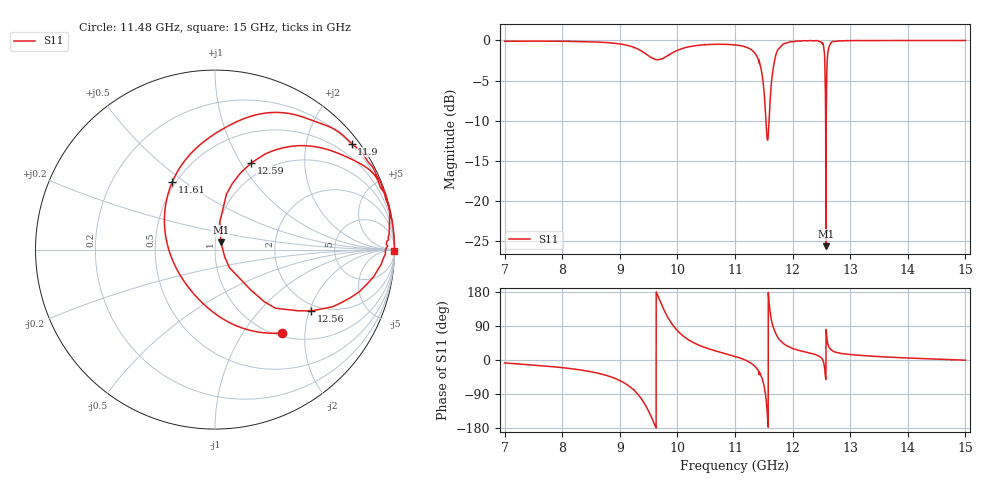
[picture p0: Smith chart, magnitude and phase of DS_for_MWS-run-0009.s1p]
! TOUCHSTONE file generated by CST DESIGN STUDIO
! Date and time: Mon Feb 10 16:57:18 2025
! Project name: C:\Work\MatlabApps\UnitCellType2OptimizationMatlab\CST\unitcell.cst
! Tree item: Tasks\Sweep1\SPara1\S-Parameters
! Header version: 2024
! Port assignment regex: !\s*Touchstone port\s*([0-9]+)\s*=\s*(CST MWS port|CST DES external port|CST DES block port)\s*(.+)\s* \(\"(.*)\"\)(\s*mode\s*([0-9]+))?.*
! Touchstone port assignment:
! Touchstone port 1 = CST DES external port 1 ("")
# GHz S MA R 50
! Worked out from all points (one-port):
!   4001 points, 7 GHz to 15 GHz, reference 50 ohm
!   lowest |S11| = -25.6 dB at 12.58 GHz (marker M1), VSWR 1.11, Z = 53.2 + j4.38 ohm
!   |S11| at or under -10 dB: 11.53716 GHz to 11.59107 GHz (53.91 MHz wide, 0.466 % of centre); 12.57359 GHz to 12.58401 GHz (10.43 MHz wide, 0.0829 % of centre)
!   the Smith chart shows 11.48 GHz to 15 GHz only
!   S11 on the Smith chart (normalised r, x): 11.48 GHz: 1.06, -1.53; 11.61 GHz: 0.48, +0.45; 11.9 GHz: 0.18, +2.91; 12.56 GHz: 1.80, -2.06; 12.59 GHz: 0.83, +1.11; 15 GHz: open
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7  0.988 -7.8
8  0.9886 -20.1
8.626  0.9769 -35.0
9  0.9522 -54.2
9.372  0.8611 -102.0
9.488  0.8078 -131.3
9.612  0.7627 -173.0
9.804  0.7939 121.0
10  0.8675 77.5
10.372  0.9335 39.2
11  0.9388 9.6
11.324  0.8508 -13.7
11.476  0.5959 -51.1
11.556  0.2493 -131.6
11.614  0.4466 122.1
11.708  0.8103 69.8
11.898  0.9638 37.8
12  0.9818 30.5
12.494  0.9773 6.5
12.538  0.9209 -6.2
12.562  0.6365 -32.4
12.58  0.05242 51.6
12.59  0.5248 67.2
12.624  0.8867 36.2
12.692  0.9841 24.3
13  0.9964 14.4
14  0.9989 5.3
15  0.9995 -0.5
